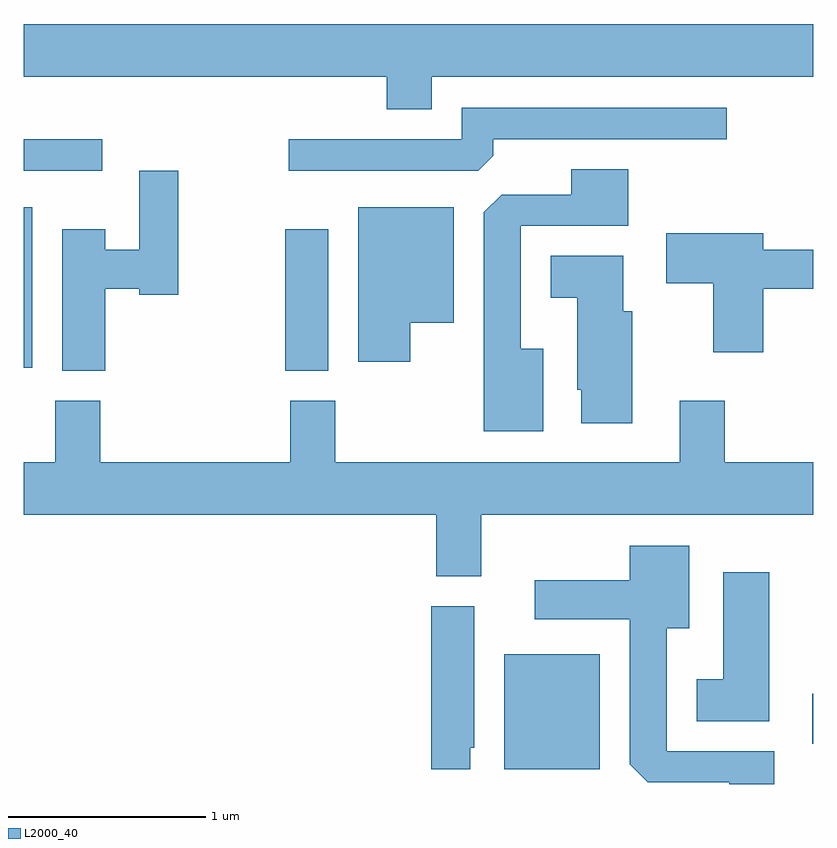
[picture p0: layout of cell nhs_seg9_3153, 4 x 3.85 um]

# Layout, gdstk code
import gdstk
lib = gdstk.Library(unit=1e-6, precision=1e-09)
def R(c, l, rs):  # rectangles x0, y0, x1, y1
    for r in rs: c.add(gdstk.rectangle(r[:2], r[2:], *l))
def P(c, l, *ps):  # polygons
    for p in ps: c.add(gdstk.Polygon(p, *l))
L2000_40 = (2000, 40)

nhs_seg9_3153 = lib.new_cell('nhs_seg9_3153')
R(nhs_seg9_3153, L2000_40, [(280.046,2010.506,280.529,2011.089), (281.606,2010.636,281.611,2010.889), (278.936,2012.526,279.154,2013.244), (277.611,2012.541,277.654,2013.354), (277.611,2013.541,278.008,2013.699)])
P(nhs_seg9_3153, L2000_40, [(279.679,2014.016),(281.611,2014.016),(281.611,2014.284),(277.611,2014.284),(277.611,2014.016),(279.451,2014.016),(279.451,2013.851),(279.679,2013.851)],
  [(279.989,2013.617),(279.989,2013.701),(281.173,2013.701),(281.173,2013.859),(279.831,2013.859),(279.831,2013.699),(278.953,2013.699),(278.953,2013.541),(279.914,2013.541)],
  [(280.244,2012.639),(280.129,2012.639),(280.129,2013.261),(280.674,2013.261),(280.674,2013.549),(280.386,2013.549),(280.386,2013.419),(280.032,2013.419),(279.941,2013.329),(279.941,2012.221),(280.244,2012.221)],
  [(278.024,2012.941),(278.196,2012.941),(278.196,2012.911),(278.394,2012.911),(278.394,2013.539),(278.196,2013.539),(278.196,2013.139),(278.024,2013.139),(278.024,2013.244),(277.806,2013.244),(277.806,2012.526),(278.024,2012.526)],
  [(279.569,2012.771),(279.789,2012.771),(279.789,2013.354),(279.306,2013.354),(279.306,2012.571),(279.569,2012.571)],
  [(281.359,2012.941),(281.611,2012.941),(281.611,2013.139),(281.359,2013.139),(281.359,2013.224),(280.866,2013.224),(280.866,2012.971),(281.106,2012.971),(281.106,2012.621),(281.359,2012.621)],
  [(280.694,2012.829),(280.649,2012.829),(280.649,2013.109),(280.281,2013.109),(280.281,2012.896),(280.416,2012.896),(280.416,2012.431),(280.436,2012.431),(280.436,2012.261),(280.694,2012.261)],
  [(279.929,2011.796),(281.611,2011.796),(281.611,2012.064),(281.164,2012.064),(281.164,2012.374),(280.936,2012.374),(280.936,2012.064),(279.189,2012.064),(279.189,2012.374),(278.961,2012.374),(278.961,2012.064),(277.999,2012.064),(277.999,2012.374),(277.771,2012.374),(277.771,2012.064),(277.611,2012.064),(277.611,2011.796),(279.701,2011.796),(279.701,2011.486),(279.929,2011.486)],
  [(281.414,2010.599),(280.869,2010.599),(280.869,2011.221),(280.984,2011.221),(280.984,2011.639),(280.681,2011.639),(280.681,2011.464),(280.201,2011.464),(280.201,2011.266),(280.681,2011.266),(280.681,2010.532),(280.772,2010.441),(281.186,2010.441),(281.186,2010.432),(281.414,2010.432)],
  [(281.389,2011.504),(281.156,2011.504),(281.156,2010.964),(281.021,2010.964),(281.021,2010.751),(281.389,2010.751)],
  [(279.874,2010.616),(279.894,2010.616),(279.894,2011.334),(279.676,2011.334),(279.676,2010.506),(279.874,2010.506)])

lib.write_gds('nhs_seg9_3153.gds')
